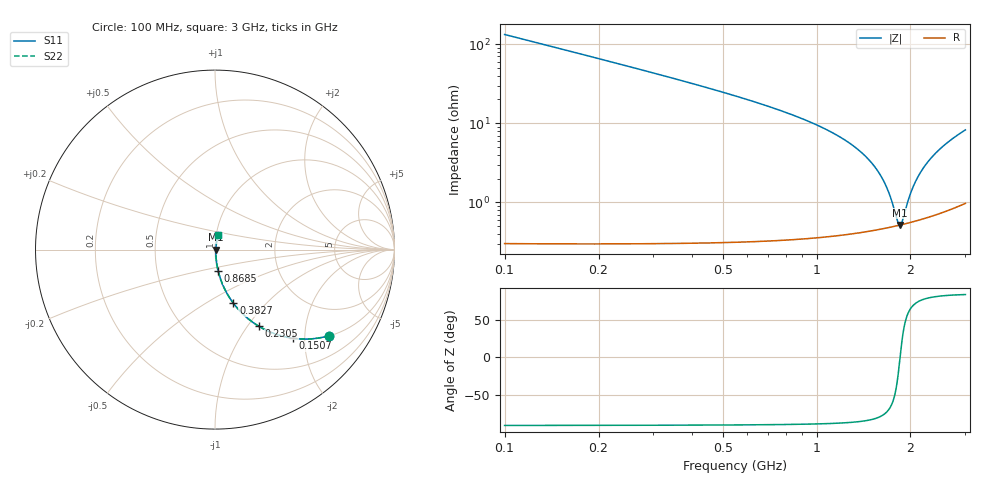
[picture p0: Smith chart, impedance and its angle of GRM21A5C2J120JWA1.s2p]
!Murata Part Number: GRM21A5C2J120JWA1
!These Parameters are Measured in Series Mode Connection
!Data Generated on Mar 30, 2021
!  o--ll--o
!Port1  Port2
!  o------o
!Operation Temp=25[degC], DC Bias Voltage=0[V]
!Freq. Start=100[MHz] Stop=3[GHz] 401[Steps]
# Hz S RI R 50
!Freq.(Hz) S11(Real) S11(Imag) S21(Real) S21(Imag) S12(Real) S12(Imag) S22(Real) S22(Imag)
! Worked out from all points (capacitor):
!   401 points, 100 MHz to 3 GHz, reference 50 ohm
!   read as one part in series: C = 12 pF near 114.5 MHz
!   lowest |Z| = 517 mohm at 1.847 GHz (marker M1)
!   series resonance near 1.852 GHz, so ESL is about 620 pH
!   S11 on the Smith chart (normalised r, x): 100 MHz: 1.01, -2.65; 150.8 MHz: 1.01, -1.75; 230.5 MHz: 1.01, -1.14; 382.8 MHz: 1.01, -0.67; 868.5 MHz: 1.01, -0.24; 3 GHz: 1.02, +0.16
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1e8  0.637 -0.4797  0.363 0.4797  0.363 0.4797  0.637 -0.4797
1.5075e8  0.4345 -0.494  0.5655 0.494  0.5655 0.494  0.4345 -0.494
1.87e8  0.332 -0.4688  0.668 0.4688  0.668 0.4688  0.332 -0.4688
2.305e8  0.2452 -0.4276  0.7548 0.4276  0.7548 0.4276  0.2452 -0.4276
2.9575e8  0.163 -0.3659  0.837 0.3659  0.837 0.3659  0.163 -0.3659
3.8275e8  0.1021 -0.2982  0.8979 0.2982  0.8979 0.2982  0.1021 -0.2982
5.8575e8  0.0432 -0.1957  0.9568 0.1957  0.9568 0.1957  0.0432 -0.1957
8.685e8  0.0176 -0.1181  0.9824 0.1181  0.9824 0.1181  0.0176 -0.1181
1.0715e9  0.0105 -0.0826  0.9895 0.0826  0.9895 0.0826  0.0105 -0.0826
1.35425e9  0.00624 -0.0463  0.9938 0.0463  0.9938 0.0463  0.00624 -0.0463
1.55e9  0.00514 -0.0263  0.9949 0.0263  0.9949 0.0263  0.00514 -0.0263
1.6805e9  0.00494 -0.0144  0.9951 0.0144  0.9951 0.0144  0.00494 -0.0144
1.7385e9  0.00495 -0.00938  0.995 0.00938  0.995 0.00938  0.00495 -0.00938
1.81825e9  0.00507 -0.00275  0.9949 0.00275  0.9949 0.00275  0.00507 -0.00275
1.84725e9  0.00513 -0.000396  0.9949 0.000396  0.9949 0.000396  0.00513 -0.000396
1.8835e9  0.00523 0.0025  0.9948 -0.0025  0.9948 -0.0025  0.00523 0.0025
1.9705e9  0.00555 0.00927  0.9945 -0.00927  0.9945 -0.00927  0.00555 0.00927
2.03575e9  0.00585 0.0142  0.9941 -0.0142  0.9941 -0.0142  0.00585 0.0142
2.12275e9  0.00634 0.0206  0.9937 -0.0206  0.9937 -0.0206  0.00634 0.0206
2.2315e9  0.00707 0.0284  0.9929 -0.0284  0.9929 -0.0284  0.00707 0.0284
2.5215e9  0.00969 0.0483  0.9903 -0.0483  0.9903 -0.0483  0.00969 0.0483
3e9  0.0161 0.0798  0.9839 -0.0798  0.9839 -0.0798  0.0161 0.0798
